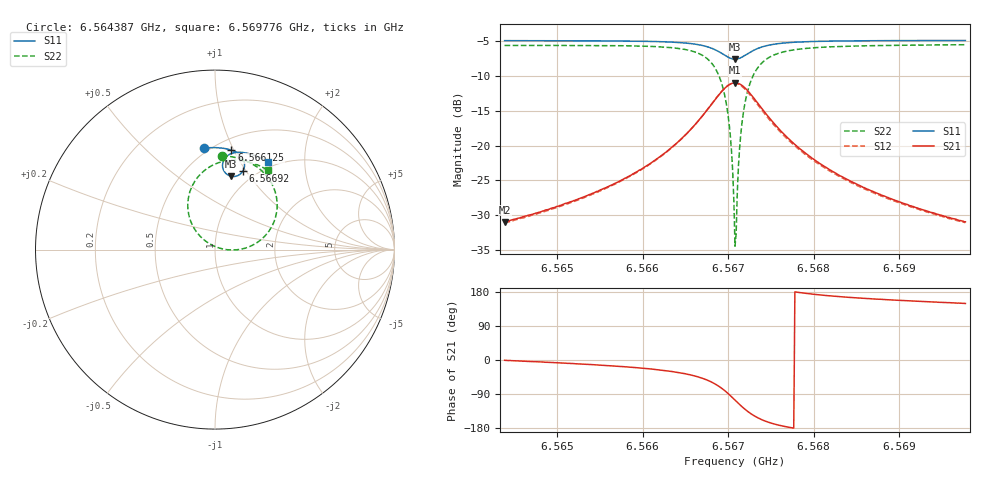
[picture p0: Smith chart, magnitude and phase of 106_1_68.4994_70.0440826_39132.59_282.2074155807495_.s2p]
#  HZ  S  RI  R  50.00
! Rohde & Schwarz Vector Network Analyzer
! Rohde-Schwarz,ZNB20-2Port,1311601062101988,3.16
! Created: UTC 3/20/2024, 5:08:24 PM
! freq[Hz]  re:S11  im:S11  re:S21  im:S21  re:S12  im:S12  re:S22  im:S22
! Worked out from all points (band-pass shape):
!   401 points, 6.564387 GHz to 6.569776 GHz, reference 50 ohm
!   highest |S21| = -10.96 dB at 6.567081 GHz (marker M1); lowest = -31.0 dB at 6.564387 GHz (marker M2)
!   |S21| within 3 dB of the highest: 6.566813 GHz to 6.567351 GHz (538.4 kHz wide, 0.0082 % of centre)
!   lowest |S11| = -7.6 dB at 6.567081 GHz (marker M3), VSWR 2.44, Z = 41.4 + j41.1 ohm
!   |S11| at or under -10 dB: nowhere
!   |S22| runs from -34.5 to -5.5 dB; largest |S21 - S12| = 0.013
!   S11 on the Smith chart (normalised r, x): 6.564387 GHz: 0.47, +0.78; 6.566125 GHz: 0.61, +0.98; 6.56692 GHz: 0.87, +0.97; 6.569776 GHz: 0.91, +1.33
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6.5643867e9  -0.0607 0.5658  0.0282 -0.000342  0.0277 -0.001  0.0391 0.524
6.5652894e9  0.0134 0.5677  0.0415 -0.0079  0.0407 -0.0084  0.1249 0.5104
6.5661246e9  0.0917 0.5538  0.0702 -0.0316  0.0689 -0.0324  0.234 0.4602
6.566192e9  0.0988 0.551  0.0739 -0.0359  0.0727 -0.0368  0.2458 0.4513
6.5666905e9  0.1568 0.5029  0.1085 -0.1185  0.1063 -0.1209  0.3427 0.2909
6.5668252e9  0.1646 0.4687  0.1014 -0.1784  0.097 -0.1816  0.3362 0.1766
6.5669195e9  0.1553 0.4369  0.0683 -0.2327  0.0607 -0.2357  0.2771 0.0746
6.5669734e9  0.1401 0.4198  0.0313 -0.2606  0.0212 -0.2623  0.2088 0.0242
6.5670138e9  0.1234 0.4108  -0.00579 -0.2743  -0.0173 -0.2737  0.141 0.00168
6.5670408e9  0.1103 0.4077  -0.0336 -0.2778  -0.0457 -0.2751  0.0907 -0.00227
6.5670677e9  0.0968 0.4075  -0.0625 -0.2756  -0.0745 -0.271  0.0398 0.00446
6.5670812e9  0.09 0.4087  -0.0768 -0.2724  -0.0885 -0.2665  0.0148 0.0117
6.5670947e9  0.0833 0.4105  -0.0907 -0.2678  -0.102 -0.2609  -0.00923 0.0214
6.5671081e9  0.0769 0.4131  -0.104 -0.2618  -0.1146 -0.2539  -0.0317 0.0334
6.5671351e9  0.0654 0.4202  -0.128 -0.2464  -0.1373 -0.237  -0.0718 0.0637
6.5671755e9  0.0521 0.4345  -0.1561 -0.217  -0.1628 -0.2061  -0.1165 0.119
6.5672294e9  0.043 0.4565  -0.1779 -0.1735  -0.1806 -0.1621  -0.1468 0.1979
6.5672967e9  0.0433 0.482  -0.1838 -0.1235  -0.1834 -0.1137  -0.1485 0.2856
6.5675527e9  0.083 0.5318  -0.1385 -0.0252  -0.1354 -0.0211  -0.046 0.4505
6.5679838e9  0.1437 0.5421  -0.0805 0.00866  -0.0788 0.00994  0.0852 0.4976
6.5688865e9  0.228 0.5216  -0.039 0.0151  -0.0381 0.0153  0.2154 0.4798
6.5697757e9  0.2937 0.4895  -0.0243 0.0145  -0.0237 0.0146  0.2934 0.4437
